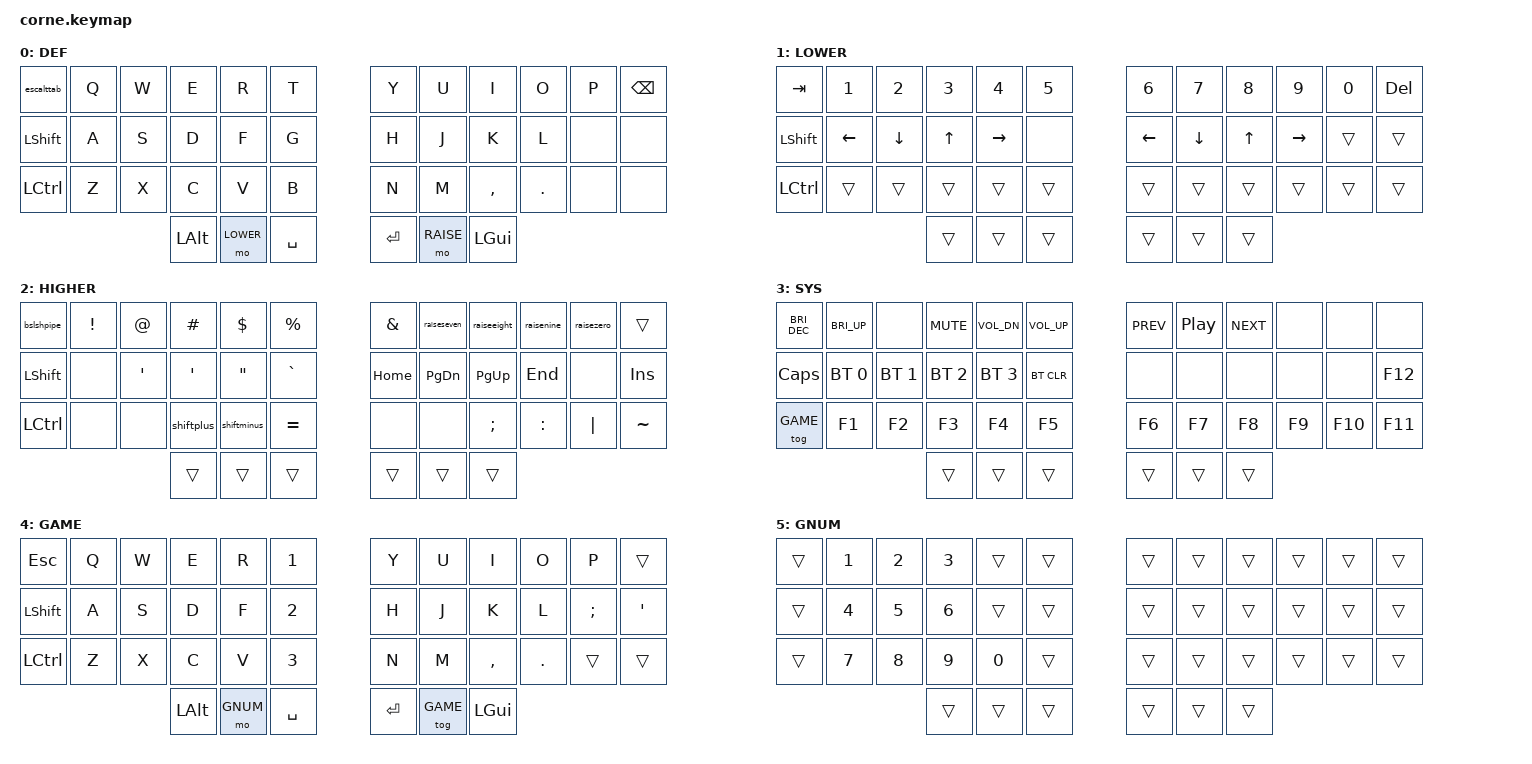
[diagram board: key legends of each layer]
/*
 * Copyright (c) 2020 The ZMK Contributors
 *
 * SPDX-License-Identifier: MIT
 */

#include <behaviors.dtsi>
#include <dt-bindings/zmk/keys.h>
#include <dt-bindings/zmk/bt.h>

#define DEFAULT 0
#define LOWER   1
#define RAISE   2
#define THIRD   3
#define GAME    4
#define GNUM    5

&sk {
    release-after-ms = <2000>;
    quick-release;
    /delete-property/ ignore-modifiers;
};
&lt {
    tapping-term-ms = <10>;
};

#define ZMK_HELPER_STRINGIFY(x) #x

#define MAKE_MOD(NAME, MOD, BINDING1, BINDING2) \
            NAME: NAME { \
                compatible = "zmk,behavior-mod-morph"; \
                label = ZMK_HELPER_STRINGIFY(ZB_ ## NAME); \
                #binding-cells = <0>; \
                bindings = <&kp BINDING1>, <&kp BINDING2>; \
                mods = <(MOD)>; \
            };

/ {
    behaviors {

        MAKE_MOD(raiseseven, MOD_LSFT|MOD_RSFT, FSLH, LBRC)
        MAKE_MOD(raiseeight, MOD_LSFT|MOD_RSFT, LPAR, LBKT)
        MAKE_MOD(raisenine, MOD_LSFT|MOD_RSFT, RPAR, RBKT)
        MAKE_MOD(raisezero, MOD_LSFT|MOD_RSFT, QMARK, RBRC)
        
        MAKE_MOD(bspcdel, MOD_LSFT|MOD_RSFT, BSPC, DEL)
        MAKE_MOD(bslshpipe, MOD_LSFT|MOD_RSFT, BSLH, PIPE)
        MAKE_MOD(aposdqt, MOD_LSFT|MOD_RSFT, APOS, DOUBLE_QUOTES)
        MAKE_MOD(shiftminus, MOD_LSFT|MOD_RSFT, MINUS, UNDER)

        MAKE_MOD(shiftplus, MOD_LSFT|MOD_RSFT, PLUS, KP_MULTIPLY)

        escalttab: alt_tab_esc  {
            compatible = "zmk,behavior-mod-morph";
            label = "ESC_ALTTAB";
            #binding-cells = <0>;
            bindings = <&kp ESC>, <&kp TAB>;
            mods = <(MOD_LALT|MOD_RALT)>;
            keep-mods = <(MOD_LALT|MOD_RALT)>;
        };      
    };
};

/ {
    conditional_layers {
        compatible = "zmk,conditional-layers";
        tri_layer {
            if-layers = <1 2>;
            then-layer = <3>;
        };
    };
};

/ {
        keymap {
                compatible = "zmk,keymap";

                default_layer {
                  label="DEF";
                        bindings = <
// ╭────────────┬────────────┬────────────┬────────────┬────────────┬────────────╮   ╭────────────┬────────────┬────────────┬────────────┬────────────┬────────────╮
// | ESC ALTTAB |  Q         |  W         |  E         |  R         |  T         |   |  Y         |  U         |  I         |  O         |  P         | BKSP       |
   &escalttab   &kp Q        &kp W        &kp E        &kp R        &kp T            &kp Y        &kp U        &kp I        &kp O        &kp P        &kp BSPC 
// ├────────────┼────────────┼────────────┼────────────┼────────────┼────────────┤   ├────────────┼────────────┼────────────┼────────────┼────────────┼────────────┤
// |SHIFT       |  A         |  S         |  D         |  F         |  G         |   |  H         |  J         |  K         |  L         |            |            |
   &kp LSHIFT   &kp A        &kp S        &kp D        &kp F        &kp G            &kp H        &kp J        &kp K        &kp L        &none        &none
// ├────────────┼────────────┼────────────┼────────────┼────────────┼────────────┤   ├────────────┼────────────┼────────────┼────────────┼────────────┼────────────┤
// | CTRL       |  Z         |  X         |  C         |  V         |  B         |   |  N         |  M         |  ,         |  .         |            |            |
   &kp LCTRL    &kp Z        &kp X        &kp C        &kp V        &kp B            &kp N        &kp M        &kp COMMA    &kp DOT      &none       &none
// ╰────────────┴────────────┴────────────┼────────────┼────────────┼────────────┤   ├────────────┼────────────┼────────────┼────────────┴────────────┴────────────╯
//                                        | ALT        | LWR        | SPC        |   | ENT        | RSE        | GUI        |
                                          &kp LALT     &mo LOWER    &kp SPACE        &kp RET      &mo RAISE     &kp LGUI
//                                        ╰────────────┴────────────┴────────────╯   ╰────────────┴────────────┴────────────╯ 
                        >;
                };
                lower_layer {
                  label="LOWER";
                        bindings = <
// ╭────────────┬────────────┬────────────┬────────────┬────────────┬────────────╮   ╭────────────┬────────────┬────────────┬────────────┬────────────┬────────────╮
// | TAB        |  1         |  2         |  3         |  4         |  5         |   |  6         |  7         | 8          |  9         |  0         |  DELETE    |
   &kp TAB      &kp N1       &kp N2       &kp N3       &kp N4       &kp N5           &kp N6       &kp N7       &kp N8       &kp N9       &kp N0       &kp DEL
// ├────────────┼────────────┼────────────┼────────────┼────────────┼────────────┤   ├────────────┼────────────┼────────────┼────────────┼────────────┼────────────┤
// | SHIFT      | LFT        | DWN        | UP         | RGT        |            |   | LFT        | DWN        | UP         | RGT        |            |            |
   &kp LSHIFT   &kp LEFT     &kp DOWN     &kp UP       &kp RIGHT    &none            &kp LEFT     &kp DOWN     &kp UP       &kp RIGHT    &trans       &trans
// ├────────────┼────────────┼────────────┼────────────┼────────────┼────────────┤   ├────────────┼────────────┼────────────┼────────────┼────────────┼────────────┤
// | CTRL       |            |            |            |            |            |   |            |            |            |            |            |            |
   &kp LCTRL    &trans       &trans       &trans       &trans       &trans           &trans       &trans       &trans       &trans       &trans       &trans 
// ╰────────────┴────────────┴────────────┼────────────┼────────────┼────────────┤   ├────────────┼────────────┼────────────┼────────────┴────────────┴────────────╯
//                                        | ALT        | LWR        | SPC        |   | ENT        | RSE        | GUI        |
                                          &trans       &trans       &trans           &trans       &trans       &trans
//                                        ╰────────────┴────────────┴────────────╯   ╰────────────┴────────────┴────────────╯ 
                        >;
                };

                raise_layer {
                  label="HIGHER";
                        bindings = <  
// ╭─────────────┬────────────┬────────────┬────────────┬────────────┬────────────╮   ╭────────────┬────────────┬─────────────┬─────────────┬─────────────┬────────────╮
// | \"|"        |  !         |  @         |  #         |  $         |  %         |   |  &         |  /    {    |     [   (   |    )  ]     |   ?   }     |            |
   &bslshpipe    &kp EXCL     &kp AT_SIGN  &kp HASH     &kp DLLR     &kp PRCNT        &kp AMPS     &raiseseven  &raiseeight   &raisenine    &raisezero    &trans
// ├─────────────┼────────────┼────────────┼────────────┼────────────┼────────────┤   ├────────────┼────────────┼─────────────┼─────────────┼─────────────┼────────────┤
// | SHIFT       |            |    '       |    '       |    "       |     `      |   |   HOME     | PAGE_DOWN  |  PAGE_UP    |   END       |             |   INS      |
   &kp LSHIFT    &none        &kp APOS     &kp SQT      &kp DQT      &kp GRAVE        &kp HOME     &kp PG_DN    &kp PG_UP     &kp END         &none         &kp INS
// ├─────────────┼────────────┼────────────┼────────────┼────────────┼────────────┤   ├────────────┼────────────┼─────────────┼─────────────┼─────────────┼────────────┤
// | CTRL        |            |            |  + *       | -   _      |  =         |   |            |            |  ;          |   :         | "|"         |  ~         |
   &kp LCTRL     &none        &none        &shiftplus   &shiftminus  &kp EQUAL        &none        &none        &kp SEMICOLON &kp COLON     &kp PIPE      &kp TILDE
// ╰─────────────┴────────────┴────────────┼────────────┼────────────┼────────────┤   ├────────────┼────────────┼─────────────┼─────────────┴─────────────┴────────────╯
//                                         | ALT        | LWR        | SPC        |   | ENT        | RSE        | GUI         |
                                           &trans       &trans       &trans           &trans       &trans       &trans
//                                         ╰────────────┴────────────┴────────────╯   ╰────────────┴────────────┴────────────╯ 
                        >;
                };

                third_layer {
                  label="SYS";
                        bindings = <
// ╭─────────────┬────────────┬────────────┬────────────┬────────────┬────────────╮   ╭────────────┬────────────────┬────────────┬────────────┬────────────┬────────────╮
// |C_BRI_DEC    |C_BRI_UP    |            |C_MUTE      |C_VOL_DN    |C_VOL_UP    |   |C_PREV      |C_PLAY_PAUSE    |   C_NEXT   |            |            |            |
   &kp C_BRI_DEC &kp C_BRI_UP &none        &kp C_MUTE   &kp C_VOL_DN &kp C_VOL_UP     &kp C_PREV   &kp C_PLAY_PAUSE &kp C_NEXT  &none        &none        &none
// ├─────────────┼────────────┼────────────┼────────────┼────────────┼────────────┤   ├────────────┼────────────────┼────────────┼────────────┼────────────┼────────────┤
// |   CAPS      | BT1        | BT2        | BT3        | BT4        |BTCLR       |   |            |                |            |            |            | F12        |
   &kp CAPS      &bt BT_SEL 0 &bt BT_SEL 1 &bt BT_SEL 2 &bt BT_SEL 3 &bt BT_CLR       &none        &none            &none        &none        &none        &kp F12
// ├─────────────┼────────────┼────────────┼────────────┼────────────┼────────────┤   ├────────────┼────────────────┼────────────┼────────────┼────────────┼────────────┤
// |   GAME      | F1         | F2         | F3         | F4         | F5         |   | F6         | F7             | F8         | F9         | F10        | F11        |
   &tog GAME     &kp F1       &kp F2       &kp F3       &kp F4       &kp F5           &kp F6       &kp F7           &kp F8       &kp F9       &kp F10      &kp F11
// ╰─────────────┴────────────┴────────────┼────────────┼────────────┼────────────┤   ├────────────┼────────────────┼────────────┼────────────┴────────────┴────────────╯
//                                         | ALT        | LWR        | SPC        |   | ENT        | RSE            | GUI        |
                                           &trans       &trans       &trans           &trans       &trans           &trans
//                                         ╰────────────┴────────────┴────────────╯   ╰────────────┴────────────────┴────────────╯ 
                        >;
                };
                game_layer {
                  label="GAME";
                        bindings = <
// ╭────────────┬────────────┬────────────┬────────────┬────────────┬────────────╮   ╭────────────┬────────────┬────────────┬────────────┬────────────┬────────────╮
// | ESC        |  Q         |  W         |  E         |  R         |  1         |   |  Y         |  U         |  I         |  O         |  P         |            |
   &kp ESC      &kp Q        &kp W        &kp E        &kp R        &kp N1           &kp Y        &kp U        &kp I        &kp O        &kp P        &trans
// ├────────────┼────────────┼────────────┼────────────┼────────────┼────────────┤   ├────────────┼────────────┼────────────┼────────────┼────────────┼────────────┤
// |SHIFT       |  A         |  S         |  D         |  F         |  2         |   |  H         |  J         |  K         |  L         |  ;         |  '         |
   &kp LSHIFT   &kp A        &kp S        &kp D        &kp F        &kp N2           &kp H        &kp J        &kp K        &kp L        &kp SEMI     &kp SQT
// ├────────────┼────────────┼────────────┼────────────┼────────────┼────────────┤   ├────────────┼────────────┼────────────┼────────────┼────────────┼────────────┤
// | CTRL       |  Z         |  X         |  C         |  V         |  3         |   |  N         |  M         |  ,         |  .         |            |            |
   &kp LCTRL    &kp Z        &kp X        &kp C        &kp V        &kp N3           &kp N        &kp M        &kp COMMA    &kp DOT      &trans       &trans
// ╰────────────┴────────────┴────────────┼────────────┼────────────┼────────────┤   ├────────────┼────────────┼────────────┼────────────┴────────────┴────────────╯
//                                        | ALT        | GAME NUM   |  SPC       |   | ENT        | GAME       | GUI        |
                                          &kp LALT     &mo GNUM     &kp SPACE        &kp RET      &tog GAME    &kp LGUI
//                                        ╰────────────┴────────────┴────────────╯   ╰────────────┴────────────┴────────────╯ 
                        >;
                };
                game_number_layer {
                  label="GNUM";
                        bindings = <
// ╭────────────┬────────────┬────────────┬────────────┬────────────┬────────────╮   ╭────────────┬────────────┬────────────┬────────────┬────────────┬────────────╮
// |            |  1         |  2         |  3         |            |            |   |            |            |            |            |            |            |
   &trans       &kp N1       &kp N2       &kp N3       &trans       &trans           &trans       &trans       &trans       &trans       &trans       &trans       
// ├────────────┼────────────┼────────────┼────────────┼────────────┼────────────┤   ├────────────┼────────────┼────────────┼────────────┼────────────┼────────────┤
// |            |  4         |  5         |  6         |            |            |   |            |            |            |            |            |            |
   &trans       &kp N4       &kp N5       &kp N6       &trans        &trans           &trans       &trans       &trans        &trans       &trans       &trans
// ├────────────┼────────────┼────────────┼────────────┼────────────┼────────────┤   ├────────────┼────────────┼────────────┼────────────┼────────────┼────────────┤
// |            |  7         |  8         |  9         |  0         |            |   |            |            |            |            |            |            |
   &trans       &kp N7       &kp N8       &kp N9       &kp N0       &trans           &trans       &trans       &trans       &trans       &trans       &trans
// ╰────────────┴────────────┴────────────┼────────────┼────────────┼────────────┤   ├────────────┼────────────┼────────────┼────────────┴────────────┴────────────╯
//                                        |            |            |            |   |            |            |            |
                                          &trans       &trans       &trans           &trans       &trans       &trans
//                                        ╰────────────┴────────────┴────────────╯   ╰────────────┴────────────┴────────────╯ 
                        >;
                };
        };
};
